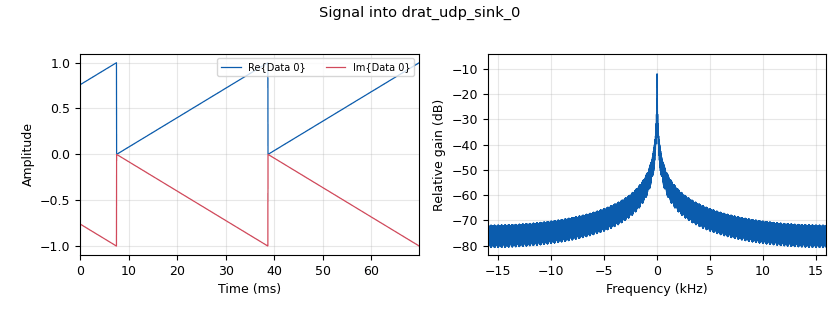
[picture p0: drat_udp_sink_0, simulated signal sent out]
options:
  parameters:
    author: Daniel Estevez
    generate_options: qt_gui
    id: loopback_tagged_stream
    output_language: python
    title: DRaT loopback (tagged stream mode)
  states: {}

blocks:
- name: packet_length
  id: variable
  parameters:
    value: '1000'
  states: {}
- name: samp_rate
  id: variable
  parameters:
    value: '32000'
  states: {}
- name: timestamp_epoch
  id: variable
  parameters:
    value: (datetime.datetime(2000, 1, 1) - datetime.datetime(1970, 1, 1)).total_seconds()
  states: {}
- name: blocks_message_strobe_0
  id: blocks_message_strobe
  parameters:
    msg: pmt.cons(pmt.PMT_NIL, pmt.init_c32vector(packet_length, (1 - 1j) * np.arange(packet_length)/packet_length))
    period: '1000'
  states: {}
- name: blocks_tag_debug_0
  id: blocks_tag_debug
  parameters:
    type: complex
  states: {}
- name: drat_time_source_0
  id: drat_time_source
  parameters:
    flow_id: '0'
    initial_timestamp: round((datetime.datetime.utcnow() - datetime.datetime(2000, 1, 1)).total_seconds() * samp_rate)
    ip: 127.0.0.1
    period: '0.1'
    port: '1235'
    samp_rate: samp_rate
  states: {}
- name: drat_udp_sink_0
  id: drat_udp_sink
  parameters:
    async_mode: 'True'
    burst_mode: 'False'
    custom_drat_types: 'False'
    dest_addr: 127.0.0.1
    dest_port: '1234'
    drat_type: '0'
    drat_type_eob: '0'
    flow_id: '0'
    initial_time: '123456789.0001'
    len_tag_key: '"packet_len"'
    maximum_latency: '100'
    packet_size: '1472'
    samp_rate: samp_rate
    self_clocked: 'False'
    status_addr: 0.0.0.0
    status_filter_flow: 'False'
    status_flow_id: '0'
    status_port: '1236'
    ticks_per_sample: '1'
    time_report_addr: 0.0.0.0
    time_report_filter_flow: 'False'
    time_report_flow_id: '0'
    time_report_port: '1235'
    timestamp_epoch: timestamp_epoch
    type: complex
  states: {}
- name: drat_udp_source_0
  id: drat_udp_source
  parameters:
    burst_mode: 'True'
    custom_drat_types: 'False'
    drat_type: '0'
    drat_type_eob: '0'
    filter_flow: 'False'
    flow_id: '0'
    listen_addr: 0.0.0.0
    listen_port: '1234'
    recv_timeout: '1000'
    samp_rate: samp_rate
    send_ack_every: '100'
    status_addr: 127.0.0.1
    status_flow_id: '0'
    status_port: '1236'
    ticks_per_sample: '1'
    timestamp_epoch: timestamp_epoch
    type: complex
    zero_fill_lost: 'False'
  states: {}
- name: import_0
  id: import
  parameters:
    imports: import pmt
  states: {}
- name: import_0_0
  id: import
  parameters:
    imports: import numpy as np
  states: {}
- name: import_1
  id: import
  parameters:
    imports: import datetime
  states: {}
- name: pdu_pdu_to_tagged_stream_0
  id: pdu_pdu_to_tagged_stream
  parameters:
    tag: packet_len
    type: complex
  states: {}
- name: qtgui_time_sink_x_0
  id: qtgui_time_sink_x
  parameters:
    size: '1024'
    srate: samp_rate
    type: complex
  states: {}

connections:
- [blocks_message_strobe_0, strobe, pdu_pdu_to_tagged_stream_0, pdus]
- [drat_udp_source_0, '0', blocks_tag_debug_0, '0']
- [drat_udp_source_0, '0', qtgui_time_sink_x_0, '0']
- [pdu_pdu_to_tagged_stream_0, '0', drat_udp_sink_0, '0']

metadata:
  file_format: 1
  grc_version: 3.10.7.0
